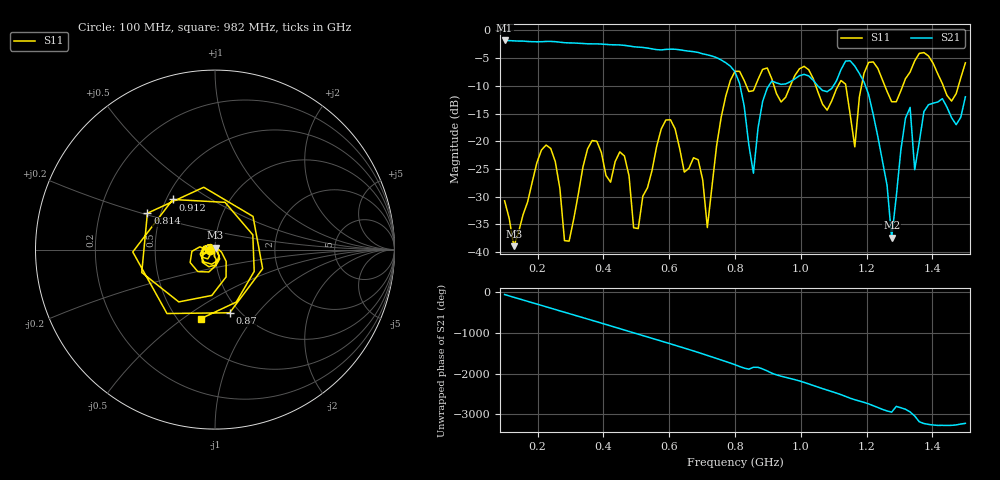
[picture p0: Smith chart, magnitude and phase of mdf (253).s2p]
! NanoVNA-App
! Date: 2025-09-25 15:40:23
! Start: 100MHz Stop: 1,5GHz Points: 101
! S-Parameter data: F S11 S21 S12 S22
# Hz S RI R 50
!  Frequency  S11_Real  S11_Imag  S21_Real  S21_Imag  S12_Real  S12_Imag  S22_Real  S22_Imag
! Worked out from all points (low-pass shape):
!   101 points, 100 MHz to 1.5 GHz, reference 50 ohm
!   highest |S21| = -1.80 dB at 100 MHz (marker M1); lowest = -37.4 dB at 1.276 GHz (marker M2)
!   |S21| within 3 dB of the highest: start of sweep to 739.1 MHz
!   lowest |S11| = -39.0 dB at 128 MHz (marker M3), VSWR 1.02, Z = 50.3 + j1.08 ohm
!   |S11| at or under -10 dB: start of sweep to 781.1 MHz; 918.6 MHz to 968.1 MHz (49.55 MHz wide, 5.25 % of centre); 1.045 GHz to 1.113 GHz (67.81 MHz wide, 6.28 % of centre)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
!   S12 and S22 are empty: the file has one direction only
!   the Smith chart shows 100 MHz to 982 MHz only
!   S11 on the Smith chart (normalised r, x): 100 MHz: 0.94, -0.01; 814 MHz: 0.42, +0.21; 870 MHz: 0.90, -0.73; 912 MHz: 0.54, +0.35; 982 MHz: 0.64, -0.59
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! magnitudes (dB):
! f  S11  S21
! 100 MHz  -30.8  -1.8
! 128 MHz  -39.0  -1.9
! 212 MHz  -21.6  -2.0
! 282 MHz  -37.9  -2.2
! 338 MHz  -24.7  -2.4
! 464 MHz  -22.7  -2.7
! 506 MHz  -35.8  -3.0
! 576 MHz  -17.8  -3.5
! 716 MHz  -35.6  -4.4
! 800 MHz  -7.4  -7.5
! 814 MHz  -7.4  -9.6
! 856 MHz  -10.9  -25.8
! 870 MHz  -8.8  -17.6
! 912 MHz  -8.8  -9.1
! 982 MHz  -8.1  -8.7
! 1.038 GHz  -8.7  -9.0
! 1.164 GHz  -21.0  -6.4
! 1.192 GHz  -7.7  -9.3
! 1.276 GHz  -12.9  -37.4
! 1.332 GHz  -7.5  -13.9
! 1.346 GHz  -5.5  -25.2
! 1.5 GHz  -5.8  -12.0
